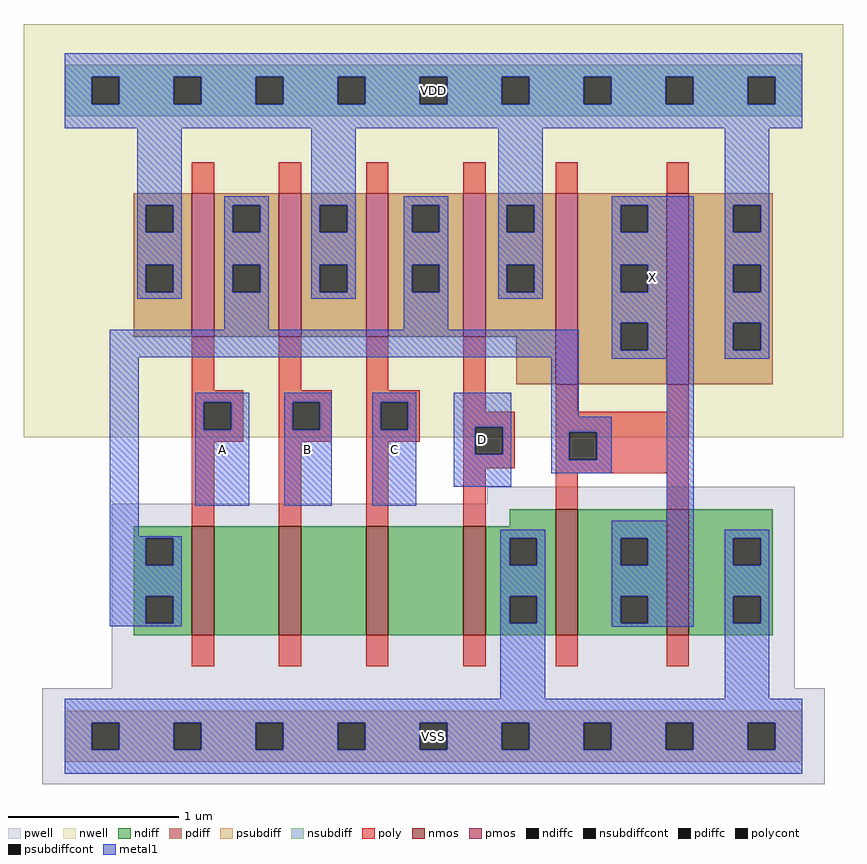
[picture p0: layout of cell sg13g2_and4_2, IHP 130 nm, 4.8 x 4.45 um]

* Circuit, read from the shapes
.subckt sg13g2_and4_2 X B A VDD VSS C D
XM1 n1 A n2 VSS sg13_lv_nmos w=0.64u l=0.13u
XM2 n3 B n1 VSS sg13_lv_nmos w=0.64u l=0.13u
XM3 n4 C n3 VSS sg13_lv_nmos w=0.64u l=0.13u
XM4 VSS D n4 VSS sg13_lv_nmos w=0.64u l=0.13u
XM5 X n2 VSS VSS sg13_lv_nmos w=0.74u l=0.13u m=2
XM6 n2 A VDD VDD sg13_lv_pmos w=0.84u l=0.13u
XM7 VDD B n2 VDD sg13_lv_pmos w=0.84u l=0.13u
XM8 n2 C VDD VDD sg13_lv_pmos w=0.84u l=0.13u
XM9 VDD D n2 VDD sg13_lv_pmos w=0.84u l=0.13u
XM10 X n2 VDD VDD sg13_lv_pmos w=1.12u l=0.13u m=2
.ends

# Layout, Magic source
magic
tech ihp-sg13g2
magscale 1 2
<< nwell >>
rect -48 350 912 834
<< pwell >>
rect 495 272 855 292
rect 55 56 855 272
rect -26 -56 890 56
<< nmos >>
rect 149 118 175 246
rect 251 118 277 246
rect 353 118 379 246
rect 467 118 493 246
rect 575 118 601 266
rect 705 118 731 266
<< pmos >>
rect 149 468 175 636
rect 251 468 277 636
rect 353 468 379 636
rect 467 468 493 636
rect 575 412 601 636
rect 705 412 731 636
<< ndiff >>
rect 521 246 575 266
rect 81 232 149 246
rect 81 200 95 232
rect 127 200 149 232
rect 81 164 149 200
rect 81 132 95 164
rect 127 132 149 164
rect 81 118 149 132
rect 175 118 251 246
rect 277 118 353 246
rect 379 118 467 246
rect 493 232 575 246
rect 493 200 521 232
rect 553 200 575 232
rect 493 164 575 200
rect 493 132 521 164
rect 553 132 575 164
rect 493 118 575 132
rect 601 232 705 266
rect 601 200 651 232
rect 683 200 705 232
rect 601 164 705 200
rect 601 132 651 164
rect 683 132 705 164
rect 601 118 705 132
rect 731 232 829 266
rect 731 200 783 232
rect 815 200 829 232
rect 731 164 829 200
rect 731 132 783 164
rect 815 132 829 164
rect 731 118 829 132
<< pdiff >>
rect 81 622 149 636
rect 81 590 95 622
rect 127 590 149 622
rect 81 552 149 590
rect 81 520 95 552
rect 127 520 149 552
rect 81 468 149 520
rect 175 622 251 636
rect 175 590 197 622
rect 229 590 251 622
rect 175 552 251 590
rect 175 520 197 552
rect 229 520 251 552
rect 175 468 251 520
rect 277 622 353 636
rect 277 590 299 622
rect 331 590 353 622
rect 277 552 353 590
rect 277 520 299 552
rect 331 520 353 552
rect 277 468 353 520
rect 379 622 467 636
rect 379 590 407 622
rect 439 590 467 622
rect 379 552 467 590
rect 379 520 407 552
rect 439 520 467 552
rect 379 468 467 520
rect 493 622 575 636
rect 493 590 518 622
rect 550 590 575 622
rect 493 552 575 590
rect 493 520 518 552
rect 550 520 575 552
rect 493 468 575 520
rect 529 412 575 468
rect 601 622 705 636
rect 601 590 651 622
rect 683 590 705 622
rect 601 552 705 590
rect 601 520 651 552
rect 683 520 705 552
rect 601 484 705 520
rect 601 452 651 484
rect 683 452 705 484
rect 601 412 705 452
rect 731 622 829 636
rect 731 590 783 622
rect 815 590 829 622
rect 731 552 829 590
rect 731 520 783 552
rect 815 520 829 552
rect 731 484 829 520
rect 731 452 783 484
rect 815 452 829 484
rect 731 412 829 452
<< ndiffc >>
rect 95 200 127 232
rect 95 132 127 164
rect 521 200 553 232
rect 521 132 553 164
rect 651 200 683 232
rect 651 132 683 164
rect 783 200 815 232
rect 783 132 815 164
<< pdiffc >>
rect 95 590 127 622
rect 95 520 127 552
rect 197 590 229 622
rect 197 520 229 552
rect 299 590 331 622
rect 299 520 331 552
rect 407 590 439 622
rect 407 520 439 552
rect 518 590 550 622
rect 518 520 550 552
rect 651 590 683 622
rect 651 520 683 552
rect 651 452 683 484
rect 783 590 815 622
rect 783 520 815 552
rect 783 452 815 484
<< psubdiff >>
rect 0 16 864 30
rect 0 -16 32 16
rect 64 -16 128 16
rect 160 -16 224 16
rect 256 -16 320 16
rect 352 -16 416 16
rect 448 -16 512 16
rect 544 -16 608 16
rect 640 -16 704 16
rect 736 -16 800 16
rect 832 -16 864 16
rect 0 -30 864 -16
<< nsubdiff >>
rect 0 772 864 786
rect 0 740 32 772
rect 64 740 128 772
rect 160 740 224 772
rect 256 740 320 772
rect 352 740 416 772
rect 448 740 512 772
rect 544 740 608 772
rect 640 740 704 772
rect 736 740 800 772
rect 832 740 864 772
rect 0 726 864 740
<< psubdiffcont >>
rect 32 -16 64 16
rect 128 -16 160 16
rect 224 -16 256 16
rect 320 -16 352 16
rect 416 -16 448 16
rect 512 -16 544 16
rect 608 -16 640 16
rect 704 -16 736 16
rect 800 -16 832 16
<< nsubdiffcont >>
rect 32 740 64 772
rect 128 740 160 772
rect 224 740 256 772
rect 320 740 352 772
rect 416 740 448 772
rect 512 740 544 772
rect 608 740 640 772
rect 704 740 736 772
rect 800 740 832 772
<< poly >>
rect 149 636 175 672
rect 251 636 277 672
rect 353 636 379 672
rect 467 636 493 672
rect 575 636 601 672
rect 705 636 731 672
rect 149 405 175 468
rect 251 405 277 468
rect 353 405 379 468
rect 149 391 209 405
rect 149 359 163 391
rect 195 359 209 391
rect 149 345 209 359
rect 251 391 313 405
rect 251 359 267 391
rect 299 359 313 391
rect 251 345 313 359
rect 353 391 416 405
rect 353 359 370 391
rect 402 359 416 391
rect 353 345 416 359
rect 467 380 493 468
rect 575 380 601 412
rect 705 380 731 412
rect 467 362 527 380
rect 149 246 175 345
rect 251 246 277 345
rect 353 246 379 345
rect 467 330 481 362
rect 513 330 527 362
rect 467 314 527 330
rect 575 356 731 380
rect 575 324 591 356
rect 623 324 731 356
rect 467 246 493 314
rect 575 308 731 324
rect 575 266 601 308
rect 705 266 731 308
rect 149 82 175 118
rect 251 82 277 118
rect 353 82 379 118
rect 467 82 493 118
rect 575 82 601 118
rect 705 82 731 118
<< polycont >>
rect 163 359 195 391
rect 267 359 299 391
rect 370 359 402 391
rect 481 330 513 362
rect 591 324 623 356
<< metal1 >>
rect 0 772 864 800
rect 0 740 32 772
rect 64 740 128 772
rect 160 740 224 772
rect 256 740 320 772
rect 352 740 416 772
rect 448 740 512 772
rect 544 740 608 772
rect 640 740 704 772
rect 736 740 800 772
rect 832 740 864 772
rect 0 712 864 740
rect 85 622 137 712
rect 85 590 95 622
rect 127 590 137 622
rect 85 552 137 590
rect 85 520 95 552
rect 127 520 137 552
rect 85 512 137 520
rect 187 622 239 632
rect 187 590 197 622
rect 229 590 239 622
rect 187 552 239 590
rect 187 520 197 552
rect 229 520 239 552
rect 187 476 239 520
rect 289 622 341 712
rect 289 590 299 622
rect 331 590 341 622
rect 289 552 341 590
rect 289 520 299 552
rect 331 520 341 552
rect 289 512 341 520
rect 397 622 449 632
rect 397 590 407 622
rect 439 590 449 622
rect 397 552 449 590
rect 397 520 407 552
rect 439 520 449 552
rect 397 476 449 520
rect 508 622 560 712
rect 508 590 518 622
rect 550 590 560 622
rect 508 552 560 590
rect 508 520 518 552
rect 550 520 560 552
rect 508 512 560 520
rect 641 622 737 632
rect 641 590 651 622
rect 683 590 737 622
rect 641 552 737 590
rect 641 520 651 552
rect 683 520 737 552
rect 641 484 737 520
rect 53 444 602 476
rect 53 234 87 444
rect 153 391 216 402
rect 153 359 163 391
rect 195 359 216 391
rect 153 270 216 359
rect 257 391 313 402
rect 257 359 267 391
rect 299 359 313 391
rect 257 270 313 359
rect 360 391 412 402
rect 360 359 370 391
rect 402 359 412 391
rect 360 270 412 359
rect 456 362 523 402
rect 456 330 481 362
rect 513 330 523 362
rect 456 292 523 330
rect 570 374 602 444
rect 641 452 651 484
rect 683 452 737 484
rect 641 442 737 452
rect 773 622 825 712
rect 773 590 783 622
rect 815 590 825 622
rect 773 552 825 590
rect 773 520 783 552
rect 815 520 825 552
rect 773 484 825 520
rect 773 452 783 484
rect 815 452 825 484
rect 773 442 825 452
rect 570 356 641 374
rect 570 324 591 356
rect 623 324 641 356
rect 570 308 641 324
rect 705 252 737 442
rect 53 232 137 234
rect 53 200 95 232
rect 127 200 137 232
rect 53 164 137 200
rect 53 132 95 164
rect 127 132 137 164
rect 53 129 137 132
rect 510 232 563 242
rect 510 200 521 232
rect 553 200 563 232
rect 510 164 563 200
rect 510 132 521 164
rect 553 132 563 164
rect 510 44 563 132
rect 641 232 737 252
rect 641 200 651 232
rect 683 200 737 232
rect 641 164 737 200
rect 641 132 651 164
rect 683 132 737 164
rect 641 128 737 132
rect 773 232 825 242
rect 773 200 783 232
rect 815 200 825 232
rect 773 164 825 200
rect 773 132 783 164
rect 815 132 825 164
rect 773 44 825 132
rect 0 16 864 44
rect 0 -16 32 16
rect 64 -16 128 16
rect 160 -16 224 16
rect 256 -16 320 16
rect 352 -16 416 16
rect 448 -16 512 16
rect 544 -16 608 16
rect 640 -16 704 16
rect 736 -16 800 16
rect 832 -16 864 16
rect 0 -44 864 -16
<< labels >>
flabel metal1 s 641 442 737 632 0 FreeSans 400 0 0 0 X
port 2 nsew
flabel metal1 s 257 270 313 402 0 FreeSans 400 0 0 0 B
port 3 nsew
flabel metal1 s 153 270 216 402 0 FreeSans 400 0 0 0 A
port 4 nsew
flabel metal1 s 0 712 864 800 0 FreeSans 400 0 0 0 VDD
port 5 nsew
flabel metal1 s 0 -44 864 44 0 FreeSans 400 0 0 0 VSS
port 6 nsew
flabel metal1 s 360 270 412 402 0 FreeSans 400 0 0 0 C
port 7 nsew
flabel metal1 s 456 292 523 402 0 FreeSans 400 0 0 0 D
port 8 nsew
<< properties >>
string FIXED_BBOX 0 0 864 756
<< end >>
